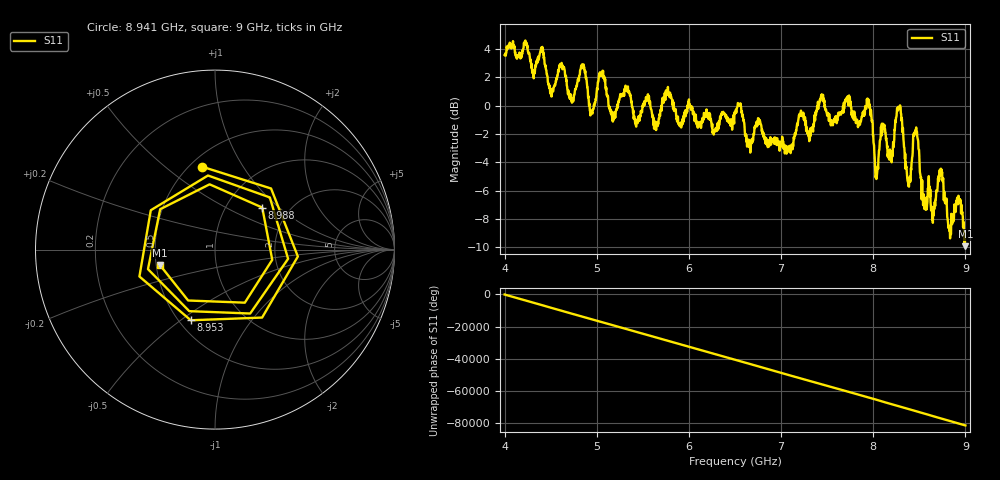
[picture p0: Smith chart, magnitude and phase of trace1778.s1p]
! Created with skrf 1.8.0 (http://scikit-rf.org).
# Hz S RI R 50.0
!freq ReS11 ImS11
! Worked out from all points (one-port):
!   1601 points, 4 GHz to 9 GHz, reference 50 ohm
!   lowest |S11| = -9.9 dB at 9 GHz (marker M1), VSWR 1.94, Z = 26.2 - j5 ohm
!   |S11| at or under -10 dB: nowhere
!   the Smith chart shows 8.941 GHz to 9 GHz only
!   S11 on the Smith chart (normalised r, x): 8.941 GHz: 0.57, +0.68; 8.953 GHz: 0.57, -0.55; 8.988 GHz: 1.47, +0.78; 9 GHz: 0.52, -0.10
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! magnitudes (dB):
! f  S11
! 4 GHz  3.6
! 4.406 GHz  4.0
! 4.509 GHz  0.6
! 4.625 GHz  2.9
! 4.725 GHz  0.3
! 4.853 GHz  2.8
! 4.941 GHz  -0.4
! 5.047 GHz  2.1
! 5.162 GHz  -0.7
! 5.25 GHz  0.6
! 5.875 GHz  -1.0
! 6.5 GHz  -0.6
! 7.125 GHz  -3.1
! 7.438 GHz  0.8
! 7.75 GHz  0.0
! 7.953 GHz  0.4
! 8.038 GHz  -5.0
! 8.194 GHz  -3.8
! 8.281 GHz  -0.1
! 8.375 GHz  -5.4
! 8.459 GHz  -1.7
! 8.562 GHz  -7.1
! 8.734 GHz  -4.4
! 8.828 GHz  -8.9
! 8.941 GHz  -6.6
! 8.953 GHz  -7.6
! 8.988 GHz  -9.1
! 9 GHz  -9.9
